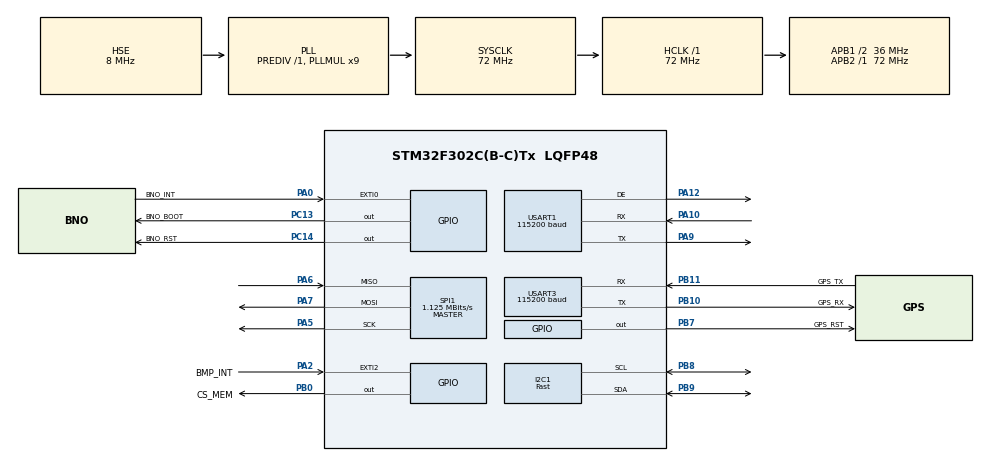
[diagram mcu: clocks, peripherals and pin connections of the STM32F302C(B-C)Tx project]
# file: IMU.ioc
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Dma.Request0=USART3_RX
Dma.Request1=USART1_TX
Dma.Request2=USART1_RX
Dma.USART1_RX.2.Direction=DMA_PERIPH_TO_MEMORY
Dma.USART1_RX.2.Instance=DMA1_Channel5
Dma.USART1_RX.2.MemDataAlignment=DMA_MDATAALIGN_BYTE
Dma.USART1_RX.2.MemInc=DMA_MINC_ENABLE
Dma.USART1_RX.2.Mode=DMA_NORMAL
Dma.USART1_RX.2.PeriphDataAlignment=DMA_PDATAALIGN_BYTE
Dma.USART1_RX.2.PeriphInc=DMA_PINC_DISABLE
Dma.USART1_RX.2.Priority=DMA_PRIORITY_LOW
Dma.USART1_TX.1.Direction=DMA_MEMORY_TO_PERIPH
Dma.USART1_TX.1.Instance=DMA1_Channel4
Dma.USART1_TX.1.MemDataAlignment=DMA_MDATAALIGN_BYTE
Dma.USART1_TX.1.MemInc=DMA_MINC_ENABLE
Dma.USART1_TX.1.Mode=DMA_NORMAL
Dma.USART1_TX.1.PeriphDataAlignment=DMA_PDATAALIGN_BYTE
Dma.USART1_TX.1.PeriphInc=DMA_PINC_DISABLE
Dma.USART1_TX.1.Priority=DMA_PRIORITY_LOW
Dma.USART3_RX.0.Direction=DMA_PERIPH_TO_MEMORY
Dma.USART3_RX.0.Instance=DMA1_Channel3
Dma.USART3_RX.0.MemDataAlignment=DMA_MDATAALIGN_BYTE
Dma.USART3_RX.0.MemInc=DMA_MINC_ENABLE
Dma.USART3_RX.0.Mode=DMA_NORMAL
Dma.USART3_RX.0.PeriphDataAlignment=DMA_PDATAALIGN_BYTE
Dma.USART3_RX.0.PeriphInc=DMA_PINC_DISABLE
Dma.USART3_RX.0.Priority=DMA_PRIORITY_LOW
I2C1.I2C_Speed_Mode=I2C_Fast
I2C1.Timing=0x0000020B
Mcu.Family=STM32F3
Mcu.Name=STM32F302C(B-C)Tx
Mcu.Package=LQFP48
NVIC.DMA1_Channel3_IRQn=true\:0\:0\:false\:false\:true\:false\:true\:true
NVIC.DMA1_Channel4_IRQn=true\:0\:0\:false\:false\:true\:false\:true\:true
NVIC.DMA1_Channel5_IRQn=true\:0\:0\:false\:false\:true\:false\:true\:true
NVIC.EXTI0_IRQn=true\:0\:0\:false\:false\:true\:true\:true\:true
NVIC.EXTI2_TSC_IRQn=true\:0\:0\:false\:false\:true\:true\:true\:true
NVIC.PriorityGroup=NVIC_PRIORITYGROUP_4
NVIC.TIM2_IRQn=true\:0\:0\:false\:false\:true\:true\:true\:true
NVIC.USART1_IRQn=true\:0\:0\:false\:false\:true\:true\:true\:true
NVIC.USART3_IRQn=true\:0\:0\:false\:false\:true\:true\:true\:true
PA0.GPIO_Label=BNO_INT
PA0.GPIO_ModeDefaultEXTI=GPIO_MODE_IT_FALLING
PA0.GPIO_PuPd=GPIO_PULLUP
PA0.Signal=GPXTI0
PA10.Mode=Asynchronous
PA10.Signal=USART1_RX
PA12.Mode=Hardware Flow Control (RS485)
PA12.Signal=USART1_DE
PA13.Mode=Trace_Asynchronous_SW
PA13.Signal=SYS_JTMS-SWDIO
PA14.Mode=Trace_Asynchronous_SW
PA14.Signal=SYS_JTCK-SWCLK
PA2.GPIO_Label=BMP_INT
PA2.GPIO_ModeDefaultEXTI=GPIO_MODE_IT_RISING
PA2.GPIO_PuPd=GPIO_PULLUP
PA2.Signal=GPXTI2
PA5.Mode=Full_Duplex_Master
PA5.Signal=SPI1_SCK
PA6.Mode=Full_Duplex_Master
PA6.Signal=SPI1_MISO
PA7.Mode=Full_Duplex_Master
PA7.Signal=SPI1_MOSI
PA9.Mode=Asynchronous
PA9.Signal=USART1_TX
PB0.GPIO_Label=CS_MEM
PB0.PinState=GPIO_PIN_SET
PB0.Signal=GPIO_Output
PB10.GPIO_Label=GPS_RX
PB10.Mode=Asynchronous
PB10.Signal=USART3_TX
PB11.GPIO_Label=GPS_TX
PB11.Mode=Asynchronous
PB11.Signal=USART3_RX
PB3.Mode=Trace_Asynchronous_SW
PB3.Signal=SYS_JTDO-TRACESWO
PB7.GPIO_Label=GPS_RST
PB7.Signal=GPIO_Output
PB8.Mode=I2C
PB8.Signal=I2C1_SCL
PB9.Mode=I2C
PB9.Signal=I2C1_SDA
PC13.GPIO_Label=BNO_BOOT
PC13.PinState=GPIO_PIN_SET
PC13.Signal=GPIO_Output
PC14-OSC32_IN.GPIO_Label=BNO_RST
PC14-OSC32_IN.Signal=GPIO_Output
PF0-OSC_IN.Mode=HSE-External-Oscillator
PF0-OSC_IN.Signal=RCC_OSC_IN
PF1-OSC_OUT.Mode=HSE-External-Oscillator
PF1-OSC_OUT.Signal=RCC_OSC_OUT
ProjectManager.HeapSize=0x200
ProjectManager.StackSize=0x400
ProjectManager.TargetToolchain=MDK-ARM V5.32
RCC.AHBFreq_Value=72000000
RCC.APB1CLKDivider=RCC_HCLK_DIV2
RCC.APB1Freq_Value=36000000
RCC.APB1TimFreq_Value=72000000
RCC.APB2Freq_Value=72000000
RCC.APB2TimFreq_Value=72000000
RCC.CortexFreq_Value=72000000
RCC.HCLKFreq_Value=72000000
RCC.HSE_VALUE=8000000
RCC.HSI_VALUE=8000000
RCC.LSE_VALUE=32768
RCC.PLLMUL=RCC_PLL_MUL9
RCC.PLLSourceVirtual=RCC_PLLSOURCE_HSE
RCC.SYSCLKFreq_VALUE=72000000
RCC.SYSCLKSourceVirtual=RCC_SYSCLKSOURCE_PLLCLK
RCC.USBFreq_Value=72000000
SPI1.BaudRatePrescaler=SPI_BAUDRATEPRESCALER_64
SPI1.CalculateBaudRate=1.125 MBits/s
SPI1.DataSize=SPI_DATASIZE_8BIT
SPI1.Direction=SPI_DIRECTION_2LINES
SPI1.Mode=SPI_MODE_MASTER
SPI1.VirtualType=VM_MASTER
TIM2.AutoReloadPreload=TIM_AUTORELOAD_PRELOAD_ENABLE
TIM2.Period=71
USART1.BaudRate=115200
USART1.VirtualMode-Asynchronous=VM_ASYNC
USART1.VirtualMode-Hardware\ Flow\ Control\ (RS485)=VM_ASYNC
USART3.BaudRate=115200
USART3.VirtualMode-Asynchronous=VM_ASYNC
VP_TIM2_VS_ClockSourceINT.Mode=Internal
board=custom

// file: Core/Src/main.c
/* USER CODE BEGIN Header */
/**
  ******************************************************************************
  * @file           : main.c
  * @brief          : Main program body
  ******************************************************************************
  * @attention
  *
  * Copyright (c) 2024 STMicroelectronics.
  * All rights reserved.
  *
  * This software is licensed under terms that can be found in the LICENSE file
  * in the root directory of this software component.
  * If no LICENSE file comes with this software, it is provided AS-IS.
  *
  ******************************************************************************
  */
/* USER CODE END Header */

#include "main.h"
#include "crc.h"
#include "dma.h"
#include "i2c.h"
#include "spi.h"
#include "tim.h"
#include "usart.h"
#include "gpio.h"

/* USER CODE BEGIN Includes */
#include <stdio.h>
#include <string.h>
#include "BNO_08x_I2C.h"
#include "NEO_M9N.h"
#include "BMP581.h"
#include "HDC302x.h"
#include "EEPROM_SPI.h"
/* USER CODE END Includes */

void SystemClock_Config(void);

/* USER CODE BEGIN 0 */

// USART1 transmit complete flag — cleared by HAL_UART_TxCpltCallback, polled by transmitFrame()
volatile uint8_t txNotComplete = 0;
// Command received from main controller over USART1
volatile uint8_t crtCmd = 0;

// BMP581 data-ready flag — set by HAL_GPIO_EXTI_Callback on BMP_INT_Pin
volatile uint8_t BMP_Ready = 0;
// BMP581 pressure and temperature result
BMP581_sensor_data_t BMP581_Data;

// BNO086 data-ready flag — set by HAL_GPIO_EXTI_Callback on BNO_INT_Pin
// sensorData and rpy externs come from BNO_08x_I2C.h
volatile uint8_t BNO_Ready = 0;

// HDC302x sensor handles — Address set before HDC302x_Init()
HDC302x_t Sensor1;
HDC302x_t Sensor2;
// HDC302x data-ready flags — set by HAL_GPIO_EXTI_Callback on A1_Pin / A2_Pin
volatile uint8_t HDC1_Ready = 0;
volatile uint8_t HDC2_Ready = 0;
// Timestamp of last HDC302x read, used to enforce HDC_READ_TIME interval
uint32_t readTime;

// Latest HDC302x readings — used to compute avgTemp and avgRH in sendData()
float temp1 = 0.0f;
float temp2 = 0.0f;
float rh1   = 0.0f;
float rh2   = 0.0f;

// GPS new-data flag — set in HAL_UART_RxCpltCallback, cleared in main loop
// myGpsData and gpsData declared in NEO_M9N.h / NEO_M9N.c
volatile uint8_t newGpsData = 0;

// Transmit buffer — aligned(4) so HAL_CRC_Calculate() can safely cast to uint32_t*
// Unaligned 32-bit reads are UB on Cortex-M4
__attribute__((aligned(4))) uint8_t txBuffer[TX_LONG_SIZE];

// EXTI callback — sets sensor ready flags
// NOTE: HAL_GPIO_EXTI_IRQHandler already clears the pending bit. Do NOT call
// __HAL_GPIO_EXTI_CLEAR_IT here; it can re-trigger the interrupt on some STM32F3 silicon.
void HAL_GPIO_EXTI_Callback(uint16_t GPIO_Pin) {
    if (GPIO_Pin == BMP_INT_Pin) {
        BMP_Ready = 1;
    }
    if (GPIO_Pin == BNO_INT_Pin) {
        BNO_Ready = 1;
    }
    if (GPIO_Pin == A1_Pin) {   // HDC Sensor 1 INTDRDY (active-low, FALLING edge)
        HDC1_Ready = 1;
    }
    if (GPIO_Pin == A2_Pin) {   // HDC Sensor 2 INTDRDY (active-low, FALLING edge)
        HDC2_Ready = 1;
    }
}

// Calculate CRC32 over txBuffer[0..length-1] and write the result at CRC_POS
// length must be a multiple of 4; HAL_CRC_Calculate() counts uint32_t words
void calculateAndAppendCRC(uint16_t length) {
    uint32_t crcValue = HAL_CRC_Calculate(&hcrc, (uint32_t *)txBuffer, length / 4);
    txBuffer[CRC_POS]     = (uint8_t)(crcValue & 0xFF);          // CRC LSB
    txBuffer[CRC_POS + 1] = (uint8_t)((crcValue >> 8) & 0xFF);  // CRC MSB
}

// USART1 DMA transmit complete — release transmitFrame() polling loop
void HAL_UART_TxCpltCallback(UART_HandleTypeDef *huart) {
    if (huart->Instance == USART1) {
        txNotComplete = 0;
    }
}

// USART DMA receive complete callback
void HAL_UART_RxCpltCallback(UART_HandleTypeDef *huart) {
    if (huart->Instance == USART1) {
        // Static: DMA writes into this buffer after the callback returns —
        // a local (stack) variable would be freed before DMA finishes
        static uint8_t devRxBuffer[TX_SHORT_SIZE];
        uint8_t data_length = TX_SHORT_SIZE - __HAL_DMA_GET_COUNTER(huart1.hdmarx);
        HAL_UART_DMAStop(&huart1);

        if (data_length > 4) {
            // TODO: parse command from devRxBuffer
        }

        HAL_UART_Receive_DMA(&huart1, devRxBuffer, TX_SHORT_SIZE);
        __HAL_DMA_DISABLE_IT(&hdma_usart1_rx, DMA_IT_HT);
        __HAL_UART_ENABLE_IT(&huart1, UART_IT_IDLE);
    }

    if (huart->Instance == USART3) {
        // DMA TC fires when all RX_BUFFER_LEN=100 bytes are received —
        // one exact UBX-NAV-PVT packet. Re-arm DMA immediately so the next
        // packet starts filling gpsData[] without a gap. No memset needed;
        // DMA overwrites all 100 bytes each transfer.
        __HAL_UART_SEND_REQ(&huart3, UART_RXDATA_FLUSH_REQUEST);
        HAL_UART_Receive_DMA(&huart3, gpsData, RX_BUFFER_LEN);
        __HAL_DMA_DISABLE_IT(&hdma_usart3_rx, DMA_IT_HT);

        // Sync-byte guard: reject mis-aligned transfers that can occur on the
        // very first packet after startup if the module was mid-sentence
        if (gpsData[0] == 0xB5) {
            newGpsData = 1;
        }
    }
}

// Transmit txBuffer over USART1 DMA and block until complete or timeout
void transmitFrame(const uint8_t length) {
    uint32_t startTime = HAL_GetTick();
    txNotComplete = 1;

    HAL_UART_Transmit_DMA(&huart1, txBuffer, length);

    while (txNotComplete) {
        if (HAL_GetTick() - startTime > TIMEOUT_COMM) {
            HAL_UART_AbortTransmit(&huart1);  // Abort on timeout
            MX_USART1_UART_Init();            // Re-initialize UART
            txNotComplete = 0;
            break;
        }
    }
}

// Build and transmit the full sensor data frame over USART1
void sendData(void) {
    // Snapshot GPS data atomically — USART3 DMA ISR can write myGpsData at any
    // point; preemption mid struct-copy yields torn data
    __disable_irq();
    GPS_DATA_t gpsSnapshot = myGpsData;
    __enable_irq();

    txBuffer[COUNT_POS] = LONG_DATA;
    txBuffer[CMD_POS]   = RESPONSE_DATA;

    // Average temperature — include HDC sensors only if they have been read
    float avgTemp     = BMP581_Data.temperature;
    uint8_t tempCount = 1;
    if (temp1 != 0.0f) { avgTemp += temp1; tempCount++; }
    if (temp2 != 0.0f) { avgTemp += temp2; tempCount++; }
    avgTemp /= (float)tempCount;

    // Use memcpy to write multi-byte values into the uint8_t buffer —
    // direct float* casts violate strict aliasing under ARMCC V6
    memcpy(&txBuffer[TEMP_POS],     &avgTemp,               sizeof(float));
    memcpy(&txBuffer[PRESSURE_POS], &BMP581_Data.pressure,  sizeof(float));

    float avgRH = (rh1 + rh2) / 2.0f;
    memcpy(&txBuffer[RH_POS],  &avgRH,       sizeof(float));
    memcpy(&txBuffer[BNO_POS], &rpy,          sizeof(BNO_RollPitchYaw_t));
    memcpy(&txBuffer[GPS_POS], &gpsSnapshot,  sizeof(GPS_DATA_t));

    calculateAndAppendCRC(CRC_POS);
    txBuffer[END_POS] = END_MARKER;
    transmitFrame(TX_LONG_SIZE);
}

// Build and transmit a short status/response message over USART1
void sendMessage(uint8_t msgType) {
    txBuffer[COUNT_POS] = SHORT_DATA;
    txBuffer[CMD_POS]   = msgType;
    calculateAndAppendCRC(CRC_POS_S);
    txBuffer[END_POS_S] = END_MARKER;
    transmitFrame(TX_SHORT_SIZE);
}

/* USER CODE END 0 */

int main(void)
{

    /* MCU Configuration -------------------------------------------------------*/

    /* Reset of all peripherals, Initializes the Flash interface and the Systick. */
    HAL_Init();

    /* Configure the system clock */
    SystemClock_Config();

    /* Initialize all configured peripherals */
    MX_GPIO_Init();
    MX_DMA_Init();
    MX_SPI1_Init();
    MX_USART1_UART_Init();
    MX_USART3_UART_Init();
    MX_I2C1_Init();
    MX_TIM2_Init();
    MX_CRC_Init();

    /* USER CODE BEGIN 2 */

    M9N_Reset();
    HDC302x_Reset();

    // Configure BNO086 boot pins — BOOT_On = normal operation (low = DFU mode, 0x52 I2C address)
    BNO_RST_On;
    BNO_BOOT_On;

    // Wait for all sensors to complete power-on sequence
    HAL_Delay(1000);

    // Set fixed frame header bytes
    txBuffer[0] = START_MARKER;
    txBuffer[1] = START_MARKER;

    // Deselect M95512 EEPROM (CS idle-high)
    EEPROM_RELEASE;

    // Start GPS DMA reception
    M9N_Start();

    // Initialize HDC302x Sensor 2
    Sensor2.Address = HDC302X_SENSOR_2_ADDR;
    if (HDC302x_Init(&Sensor2) != HAL_OK) {
        printf("Sensor 2 initialization failed!\n");
    } else {
        printf("Sensor 2 initialized successfully.\n");
    }

    // Initialize HDC302x Sensor 1
    Sensor1.Address = HDC302X_SENSOR_1_ADDR;
    if (HDC302x_Init(&Sensor1) != HAL_OK) {
        printf("Sensor 1 initialization failed!\n");
    } else {
        printf("Sensor 1 initialized successfully.\n");
    }

    // Start HDC302x auto-measurement at 4 Hz LPM0 — sensor measures continuously;
    // HDC302x_ReadData() fetches the latest result from the output register
    HDC302x_StartAutoMeasurement(&Sensor1, HDC302X_CMD_AUTO_MEASUREMENT_4_PER_SECOND_LPM0);
    HDC302x_StartAutoMeasurement(&Sensor2, HDC302X_CMD_AUTO_MEASUREMENT_4_PER_SECOND_LPM0);
    readTime = HAL_GetTick();

    // Initialize BMP581
    if (BMP581_Init() == HAL_OK) {
        sendMessage(RESPONSE_BMP_INIT_OK);
    } else {
        sendMessage(RESPONSE_BMP_INIT_FAIL);
        printf("BMP initialization failed!\n");
    }

	// Initialize BNO086 (currently disabled)
  if (BNO_Init() == HAL_OK) {
      if (BNO_setHighAccuracyMode() != HAL_OK) {
          // Sensor alive but rpy will stay zero
          sendMessage(RESPONSE_BNO_INIT_FAIL);
          printf("BNO high accuracy mode failed!\n");
      } else {
          sendMessage(RESPONSE_BNO_INIT_OK);
      }
  } else {
      sendMessage(RESPONSE_BNO_INIT_FAIL);
      printf("BNO initialization failed!\n");
  }

	HAL_Delay(TIMEOUT_COMM);

    /* USER CODE END 2 */

    /* Infinite loop */
    /* USER CODE BEGIN WHILE */
    while (1)
    {
        // Handle calibration command from main controller
        if (crtCmd == CMD_CALIBRATE) {
            crtCmd = 0;
            if (BNO_calibrateHighAccuracyAndReset() == HAL_OK) {
                sendMessage(RESPONSE_CALIBRATE_OK);
            } else {
                sendMessage(RESPONSE_CALIBRATE_FAIL);
            }
        }

      // BNO086 — update rpy (5 Hz, interrupt-driven)
      // NOTE: do NOT clear BNO_Ready here. waitInt() inside BNO_dataAvailable()
      // finds BNO_Ready set and clears it itself. Clearing it here first causes
      // waitInt() to always time out → rpy never updates.
      // NOTE: isResetOccurred() reads a flag set by processResponse() inside
      if (BNO_Ready) {
          BNO_dataAvailable();    // waitInt() clears BNO_Ready; quaternionUpdate() updates rpy
          if (isResetOccurred()) {
              BNO_setFeature(ROTATION_VECTOR, 200000, 0);
          }
      }

      // BMP581 — update pressure and temperature (4 Hz, interrupt-driven)
      if (BMP_Ready) {
				BMP_Ready = 0;
				BMP581_Get_TempPressData(&BMP581_Data);
      }

      // HDC302x — read humidity and temperature at 4 Hz (HDC_READ_TIME = 250 ms)
      // Auto-measurement runs continuously inside the sensor; ReadData() fetches
      // the latest result from the output register
      if ((HAL_GetTick() - readTime) > HDC_READ_TIME) {
				if (HDC302x_ReadData(&Sensor1) == HAL_OK) {
					temp1 = Sensor1.Data.Temperature;
					rh1   = Sensor1.Data.Humidity;
				}
				if (HDC302x_ReadData(&Sensor2) == HAL_OK) {
					temp2 = Sensor2.Data.Temperature;
					rh2   = Sensor2.Data.Humidity;
				}
				readTime = HAL_GetTick();
      }

      // GPS — process and transmit at 4 Hz (driven by GPS nav rate)
      // Clear flag before processGPS() so a GPS interrupt arriving during
      // sendData() is not lost
      if (newGpsData) {
				newGpsData = 0;
				processGPS();
				sendData();
      }

        /* USER CODE END WHILE */

    }
}

void SystemClock_Config(void)
{
    RCC_OscInitTypeDef RCC_OscInitStruct = {0};
    RCC_ClkInitTypeDef RCC_ClkInitStruct = {0};
    RCC_PeriphCLKInitTypeDef PeriphClkInit = {0};

    /** Initializes the RCC Oscillators according to the specified parameters
      * in the RCC_OscInitTypeDef structure.
      */
    RCC_OscInitStruct.OscillatorType      = RCC_OSCILLATORTYPE_HSI | RCC_OSCILLATORTYPE_HSE;
    RCC_OscInitStruct.HSEState            = RCC_HSE_ON;
    RCC_OscInitStruct.HSEPredivValue      = RCC_HSE_PREDIV_DIV1;
    RCC_OscInitStruct.HSIState            = RCC_HSI_ON;
    RCC_OscInitStruct.HSICalibrationValue = RCC_HSICALIBRATION_DEFAULT;
    RCC_OscInitStruct.PLL.PLLState        = RCC_PLL_ON;
    RCC_OscInitStruct.PLL.PLLSource       = RCC_PLLSOURCE_HSE;
    RCC_OscInitStruct.PLL.PLLMUL          = RCC_PLL_MUL9;
    if (HAL_RCC_OscConfig(&RCC_OscInitStruct) != HAL_OK)
    {
        Error_Handler();
    }

    /** Initializes the CPU, AHB and APB bus clocks. */
    RCC_ClkInitStruct.ClockType      = RCC_CLOCKTYPE_HCLK | RCC_CLOCKTYPE_SYSCLK
                                     | RCC_CLOCKTYPE_PCLK1 | RCC_CLOCKTYPE_PCLK2;
    RCC_ClkInitStruct.SYSCLKSource   = RCC_SYSCLKSOURCE_PLLCLK;
    RCC_ClkInitStruct.AHBCLKDivider  = RCC_SYSCLK_DIV1;
    RCC_ClkInitStruct.APB1CLKDivider = RCC_HCLK_DIV2;
    RCC_ClkInitStruct.APB2CLKDivider = RCC_HCLK_DIV1;
    if (HAL_RCC_ClockConfig(&RCC_ClkInitStruct, FLASH_LATENCY_2) != HAL_OK)
    {
        Error_Handler();
    }

    PeriphClkInit.PeriphClockSelection  = RCC_PERIPHCLK_USART1 | RCC_PERIPHCLK_USART3
                                        | RCC_PERIPHCLK_I2C1;
    PeriphClkInit.Usart1ClockSelection  = RCC_USART1CLKSOURCE_PCLK2;
    PeriphClkInit.Usart3ClockSelection  = RCC_USART3CLKSOURCE_PCLK1;
    PeriphClkInit.I2c1ClockSelection    = RCC_I2C1CLKSOURCE_HSI;
    if (HAL_RCCEx_PeriphCLKConfig(&PeriphClkInit) != HAL_OK)
    {
        Error_Handler();
    }
}

void Error_Handler(void)
{
    __disable_irq();
    while (1)
    {
    }
}
